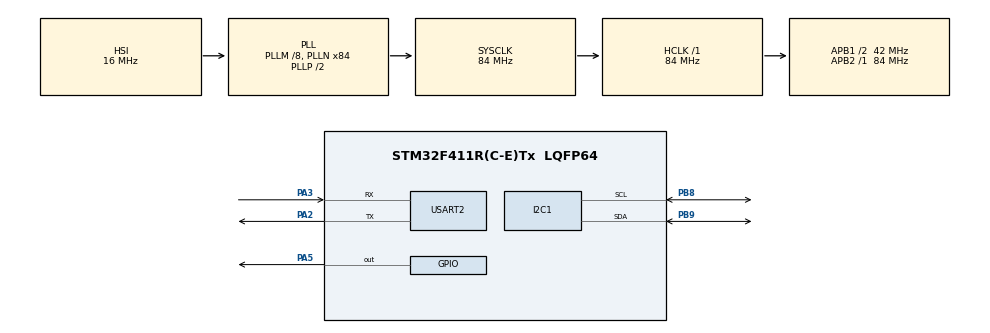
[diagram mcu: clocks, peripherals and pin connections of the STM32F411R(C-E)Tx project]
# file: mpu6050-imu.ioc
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Mcu.Family=STM32F4
Mcu.Name=STM32F411R(C-E)Tx
Mcu.Package=LQFP64
NVIC.PriorityGroup=NVIC_PRIORITYGROUP_4
PA2.Mode=Asynchronous
PA2.Signal=USART2_TX
PA3.Mode=Asynchronous
PA3.Signal=USART2_RX
PA5.Signal=GPIO_Output
PB8.Mode=I2C
PB8.Signal=I2C1_SCL
PB9.Mode=I2C
PB9.Signal=I2C1_SDA
ProjectManager.HeapSize=0x200
ProjectManager.StackSize=0x400
ProjectManager.TargetToolchain=STM32CubeIDE
RCC.48MHZClocksFreq_Value=42000000
RCC.AHBFreq_Value=84000000
RCC.APB1CLKDivider=RCC_HCLK_DIV2
RCC.APB1Freq_Value=42000000
RCC.APB1TimFreq_Value=84000000
RCC.APB2Freq_Value=84000000
RCC.APB2TimFreq_Value=84000000
RCC.CortexFreq_Value=84000000
RCC.HCLKFreq_Value=84000000
RCC.HSE_VALUE=25000000
RCC.HSI_VALUE=16000000
RCC.LSE_VALUE=32768
RCC.PLLM=8
RCC.PLLN=84
RCC.SYSCLKFreq_VALUE=84000000
RCC.SYSCLKSource=RCC_SYSCLKSOURCE_PLLCLK
RCC.VCOOutputFreq_Value=168000000
USART2.VirtualMode=VM_ASYNC
board=NUCLEO-F411RE

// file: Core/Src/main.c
/* USER CODE BEGIN Header */
/**
  ******************************************************************************
  * @file           : main.c
  * @brief          : Main program body
  ******************************************************************************
  * @attention
  *
  * Copyright (c) 2026 STMicroelectronics.
  * All rights reserved.
  *
  * This software is licensed under terms that can be found in the LICENSE file
  * in the root directory of this software component.
  * If no LICENSE file comes with this software, it is provided AS-IS.
  *
  ******************************************************************************
  */
/* USER CODE END Header */
#include "main.h"

/* USER CODE BEGIN Includes */
#include <stdio.h>
#include <math.h>
/* USER CODE END Includes */

I2C_HandleTypeDef hi2c1;

UART_HandleTypeDef huart2;

void SystemClock_Config(void);
static void MX_GPIO_Init(void);
static void MX_I2C1_Init(void);
static void MX_USART2_UART_Init(void);

int main(void)
{

  /* MCU Configuration--------------------------------------------------------*/

  /* Reset of all peripherals, Initializes the Flash interface and the Systick. */
  HAL_Init();

  /* Configure the system clock */
  SystemClock_Config();

  /* Initialize all configured peripherals */
  MX_GPIO_Init();
  MX_I2C1_Init();
  MX_USART2_UART_Init();
  /* USER CODE BEGIN 2 */
  uint8_t reg = 0x75;
  uint8_t buf[1];
  uint8_t who_am_i_ok = 0;
  HAL_I2C_Master_Transmit(&hi2c1, (0x68 << 1), &reg, 1, HAL_MAX_DELAY);
  HAL_I2C_Master_Receive(&hi2c1, (0x68 << 1), buf, 1, HAL_MAX_DELAY);
  if (buf[0] == 0x68)
  {
  	// I squared c working!!!
  	who_am_i_ok = 1;
  }

  uint8_t wake_seq[2] = {0x6B, 0x00};
  HAL_I2C_Master_Transmit(&hi2c1, (0x68 << 1), wake_seq, 2, HAL_MAX_DELAY);

  uint8_t accel_buf[6];
  uint8_t accel_reg = 0x3B;

  uint8_t gyro_buf[6];
  uint8_t gyro_reg = 0x43;

  float alpha = 0.98f;
  float comp_angle_x = 0.0f;
  float comp_angle_y = 0.0f;
  float dt = 0.01f;  // 100Hz loop, 10ms

  /* USER CODE END 2 */

  /* Infinite loop */
  while (1)
  {
	  HAL_I2C_Master_Transmit(&hi2c1, (0x68 << 1), &accel_reg, 1, HAL_MAX_DELAY);
	  HAL_I2C_Master_Receive(&hi2c1, (0x68 << 1), accel_buf, 6, HAL_MAX_DELAY);

	  int16_t accel_x = (int16_t)(accel_buf[0] << 8 | accel_buf[1]);
	  int16_t accel_y = (int16_t)(accel_buf[2] << 8 | accel_buf[3]);
	  int16_t accel_z = (int16_t)(accel_buf[4] << 8 | accel_buf[5]);

	  float ax = accel_x / 16384.0f;
	  float ay = accel_y / 16384.0f;
	  float az = accel_z / 16384.0f;

	  char uart_buf[100];

	  HAL_I2C_Master_Transmit(&hi2c1, (0x68 << 1), &gyro_reg, 1, HAL_MAX_DELAY);
	  HAL_I2C_Master_Receive(&hi2c1, (0x68 << 1), gyro_buf, 6, HAL_MAX_DELAY);

	  int16_t gyro_x = (int16_t)(gyro_buf[0] << 8 | gyro_buf[1]);
	  int16_t gyro_y = (int16_t)(gyro_buf[2] << 8 | gyro_buf[3]);
	  int16_t gyro_z = (int16_t)(gyro_buf[4] << 8 | gyro_buf[5]);

	  float gx = gyro_x / 131.0f;
	  float gy = gyro_y / 131.0f;
	  float gz = gyro_z / 131.0f;

	  float accel_angle_x = atan2f(ay, az) * 180.0f / 3.14159f;
	  float accel_angle_y = atan2f(-ax, az) * 180.0f / 3.14159f;

	  comp_angle_x = alpha * (comp_angle_x + gx * dt) + (1.0f - alpha) * accel_angle_x;
	  comp_angle_y = alpha * (comp_angle_y + gy * dt) + (1.0f - alpha) * accel_angle_y;

	  int len = sprintf(uart_buf, "AX:%d AY:%d AZ:%d GX:%d GY:%d GZ:%d CX:%d CY:%d\r\n",
			  (int)(ax*1000), (int)(ay*1000), (int)(az*1000),
			  (int)(gx*100), (int)(gy*100), (int)(gz*100),
			  (int)(comp_angle_x), (int)(comp_angle_y));

	  HAL_UART_Transmit(&huart2, (uint8_t*)uart_buf, len, HAL_MAX_DELAY);

	  HAL_Delay(10);
  }
}

void SystemClock_Config(void)
{
  RCC_OscInitTypeDef RCC_OscInitStruct = {0};
  RCC_ClkInitTypeDef RCC_ClkInitStruct = {0};

  /** Configure the main internal regulator output voltage
  */
  __HAL_RCC_PWR_CLK_ENABLE();
  __HAL_PWR_VOLTAGESCALING_CONFIG(PWR_REGULATOR_VOLTAGE_SCALE1);

  /** Initializes the RCC Oscillators according to the specified parameters
  * in the RCC_OscInitTypeDef structure.
  */
  RCC_OscInitStruct.OscillatorType = RCC_OSCILLATORTYPE_HSI;
  RCC_OscInitStruct.HSIState = RCC_HSI_ON;
  RCC_OscInitStruct.HSICalibrationValue = RCC_HSICALIBRATION_DEFAULT;
  RCC_OscInitStruct.PLL.PLLState = RCC_PLL_ON;
  RCC_OscInitStruct.PLL.PLLSource = RCC_PLLSOURCE_HSI;
  RCC_OscInitStruct.PLL.PLLM = 8;
  RCC_OscInitStruct.PLL.PLLN = 84;
  RCC_OscInitStruct.PLL.PLLP = RCC_PLLP_DIV2;
  RCC_OscInitStruct.PLL.PLLQ = 4;
  if (HAL_RCC_OscConfig(&RCC_OscInitStruct) != HAL_OK)
  {
    Error_Handler();
  }

  /** Initializes the CPU, AHB and APB buses clocks
  */
  RCC_ClkInitStruct.ClockType = RCC_CLOCKTYPE_HCLK|RCC_CLOCKTYPE_SYSCLK
                              |RCC_CLOCKTYPE_PCLK1|RCC_CLOCKTYPE_PCLK2;
  RCC_ClkInitStruct.SYSCLKSource = RCC_SYSCLKSOURCE_PLLCLK;
  RCC_ClkInitStruct.AHBCLKDivider = RCC_SYSCLK_DIV1;
  RCC_ClkInitStruct.APB1CLKDivider = RCC_HCLK_DIV2;
  RCC_ClkInitStruct.APB2CLKDivider = RCC_HCLK_DIV1;

  if (HAL_RCC_ClockConfig(&RCC_ClkInitStruct, FLASH_LATENCY_2) != HAL_OK)
  {
    Error_Handler();
  }
}

static void MX_I2C1_Init(void)
{

  hi2c1.Instance = I2C1;
  hi2c1.Init.ClockSpeed = 100000;
  hi2c1.Init.DutyCycle = I2C_DUTYCYCLE_2;
  hi2c1.Init.OwnAddress1 = 0;
  hi2c1.Init.AddressingMode = I2C_ADDRESSINGMODE_7BIT;
  hi2c1.Init.DualAddressMode = I2C_DUALADDRESS_DISABLE;
  hi2c1.Init.OwnAddress2 = 0;
  hi2c1.Init.GeneralCallMode = I2C_GENERALCALL_DISABLE;
  hi2c1.Init.NoStretchMode = I2C_NOSTRETCH_DISABLE;
  if (HAL_I2C_Init(&hi2c1) != HAL_OK)
  {
    Error_Handler();
  }

}

static void MX_USART2_UART_Init(void)
{

  huart2.Instance = USART2;
  huart2.Init.BaudRate = 115200;
  huart2.Init.WordLength = UART_WORDLENGTH_8B;
  huart2.Init.StopBits = UART_STOPBITS_1;
  huart2.Init.Parity = UART_PARITY_NONE;
  huart2.Init.Mode = UART_MODE_TX_RX;
  huart2.Init.HwFlowCtl = UART_HWCONTROL_NONE;
  huart2.Init.OverSampling = UART_OVERSAMPLING_16;
  if (HAL_UART_Init(&huart2) != HAL_OK)
  {
    Error_Handler();
  }

}

static void MX_GPIO_Init(void)
{
  GPIO_InitTypeDef GPIO_InitStruct = {0};

  /* GPIO Ports Clock Enable */
  __HAL_RCC_GPIOA_CLK_ENABLE();
  __HAL_RCC_GPIOB_CLK_ENABLE();

  /*Configure GPIO pin Output Level */
  HAL_GPIO_WritePin(GPIOA, GPIO_PIN_5, GPIO_PIN_RESET);

  /*Configure GPIO pin : PA5 */
  GPIO_InitStruct.Pin = GPIO_PIN_5;
  GPIO_InitStruct.Mode = GPIO_MODE_OUTPUT_PP;
  GPIO_InitStruct.Pull = GPIO_NOPULL;
  GPIO_InitStruct.Speed = GPIO_SPEED_FREQ_LOW;
  HAL_GPIO_Init(GPIOA, &GPIO_InitStruct);

}

void Error_Handler(void)
{
  __disable_irq();
  while (1)
  {
  }
}
